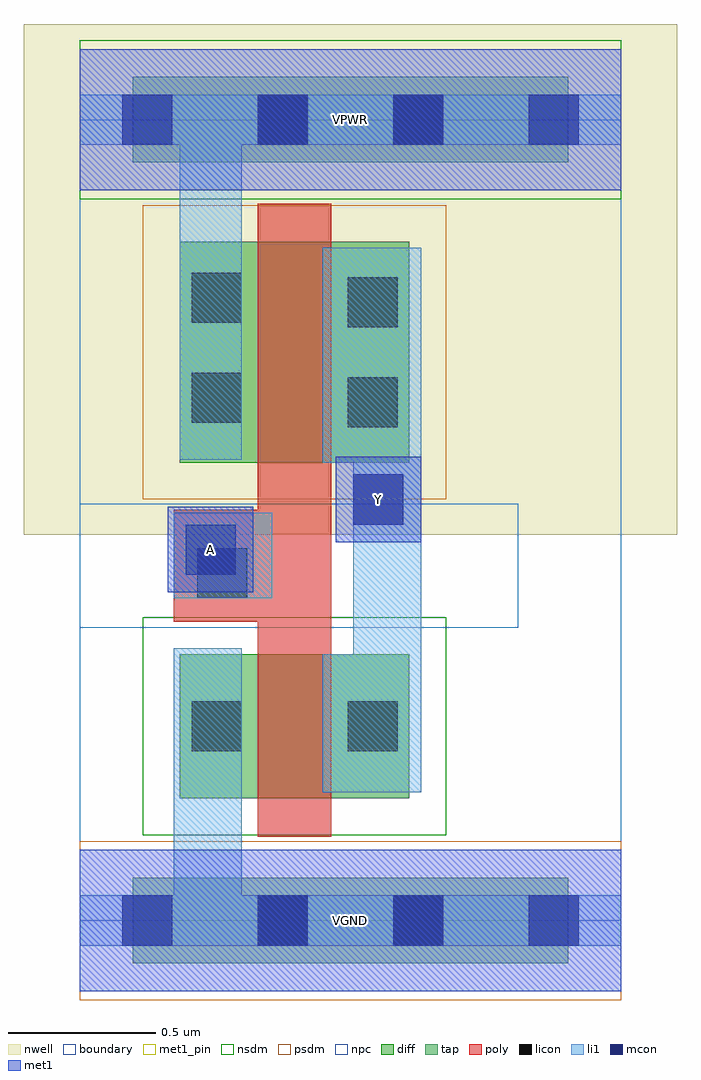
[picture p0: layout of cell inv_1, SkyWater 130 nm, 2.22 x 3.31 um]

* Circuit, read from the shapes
.subckt inv_1 A VGND VPWR Y
XM1 Y A VGND VGND sky130_fd_pr__nfet_01v8 w=0.49 l=0.25
XM2 Y A VPWR VPWR sky130_fd_pr__pfet_01v8 w=0.75 l=0.25
.ends

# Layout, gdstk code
import gdstk
lib = gdstk.Library(unit=1e-6, precision=1e-09)
def R(c, l, rs):  # rectangles x0, y0, x1, y1
    for r in rs: c.add(gdstk.rectangle(r[:2], r[2:], *l))
def A(c, l, x, y, w, h, nx, ny, dx, dy):  # array of equal rectangles
    R(c, l, [(x+i*dx, y+j*dy, x+i*dx+w, y+j*dy+h) for i in range(nx) for j in range(ny)])
nwell = (64, 20)
diff = (65, 20)
tap = (65, 44)
poly = (66, 20)
licon = (66, 44)
li1 = (67, 20)
mcon = (67, 44)
met1_pin = (68, 16)
met1 = (68, 20)
nsdm = (93, 44)
psdm = (94, 20)
npc = (95, 20)
boundary = (235, 4)

inv_1 = lib.new_cell('inv_1')
R(inv_1, nwell, [(-0.19,1.31,2.03,3.045), (0,1.31,1.84,3.045)])
R(inv_1, diff, [(0.34,0.415,1.12,0.905), (0.34,1.555,1.12,2.305)])
R(inv_1, tap, [(0.18,-0.145,1.66,0.145), (0.18,2.575,1.66,2.865)])
R(inv_1, poly, [(0.605,0.285,0.855,2.435), (0.32,1.015,0.855,1.395)])
R(inv_1, licon, [(0.605,-0.085,0.775,0.085), (1.065,-0.085,1.235,0.085), (0.38,0.575,0.55,0.745), (0.91,0.575,1.08,0.745), (0.4,1.095,0.57,1.265), (0.91,1.675,1.08,1.845), (0.38,1.69,0.55,1.86), (0.91,2.015,1.08,2.185), (0.38,2.03,0.55,2.2), (0.605,2.635,0.775,2.805), (1.065,2.635,1.235,2.805)])
R(inv_1, li1, [(0,-0.085,1.84,0.085), (0.32,-0.085,0.55,0.925), (0.825,0.435,1.16,0.905), (0.93,0.435,1.16,2.285), (0.32,1.095,0.655,1.385), (0.825,1.555,1.16,2.285), (0.34,1.565,0.55,2.805), (0,2.635,1.84,2.805)])
A(inv_1, mcon, 0.145, -0.085, 0.17, 0.17, 4, 2, 0.46, 2.72)
R(inv_1, mcon, [(0.36,1.175,0.53,1.345), (0.93,1.345,1.1,1.515)])
R(inv_1, met1_pin, [(0,-0.24,1.84,0.24), (0.3,1.115,0.59,1.405), (0.87,1.285,1.16,1.575), (0,2.48,1.84,2.96)])
R(inv_1, met1, [(0,-0.24,1.84,0.24), (0.3,1.115,0.59,1.405), (0.87,1.285,1.16,1.575), (0,2.48,1.84,2.96)])
R(inv_1, nsdm, [(0.215,0.29,1.245,1.03), (0,2.45,1.84,2.99)])
R(inv_1, psdm, [(0,-0.27,1.84,0.27), (0.215,1.43,1.245,2.43)])
R(inv_1, npc, [(0,0.995,1.49,1.415)])
R(inv_1, boundary, [(0,0,1.84,2.72)])
inv_1.add(gdstk.Label('A', (0.445,1.26), layer=68, texttype=5))
inv_1.add(gdstk.Label('Y', (1.015,1.43), layer=68, texttype=5))
inv_1.add(gdstk.Label('VPWR', (0.92,2.72), layer=68, texttype=5))
inv_1.add(gdstk.Label('VGND', (0.92,0), layer=68, texttype=5))
inv_1.add(gdstk.Label('A', (0.445,1.26), layer=68, texttype=16))
inv_1.add(gdstk.Label('Y', (1.015,1.43), layer=68, texttype=16))
inv_1.add(gdstk.Label('VPWR', (0.92,2.72), layer=68, texttype=16))
inv_1.add(gdstk.Label('VGND', (0.92,0), layer=68, texttype=16))

lib.write_gds('inv_1.gds')
